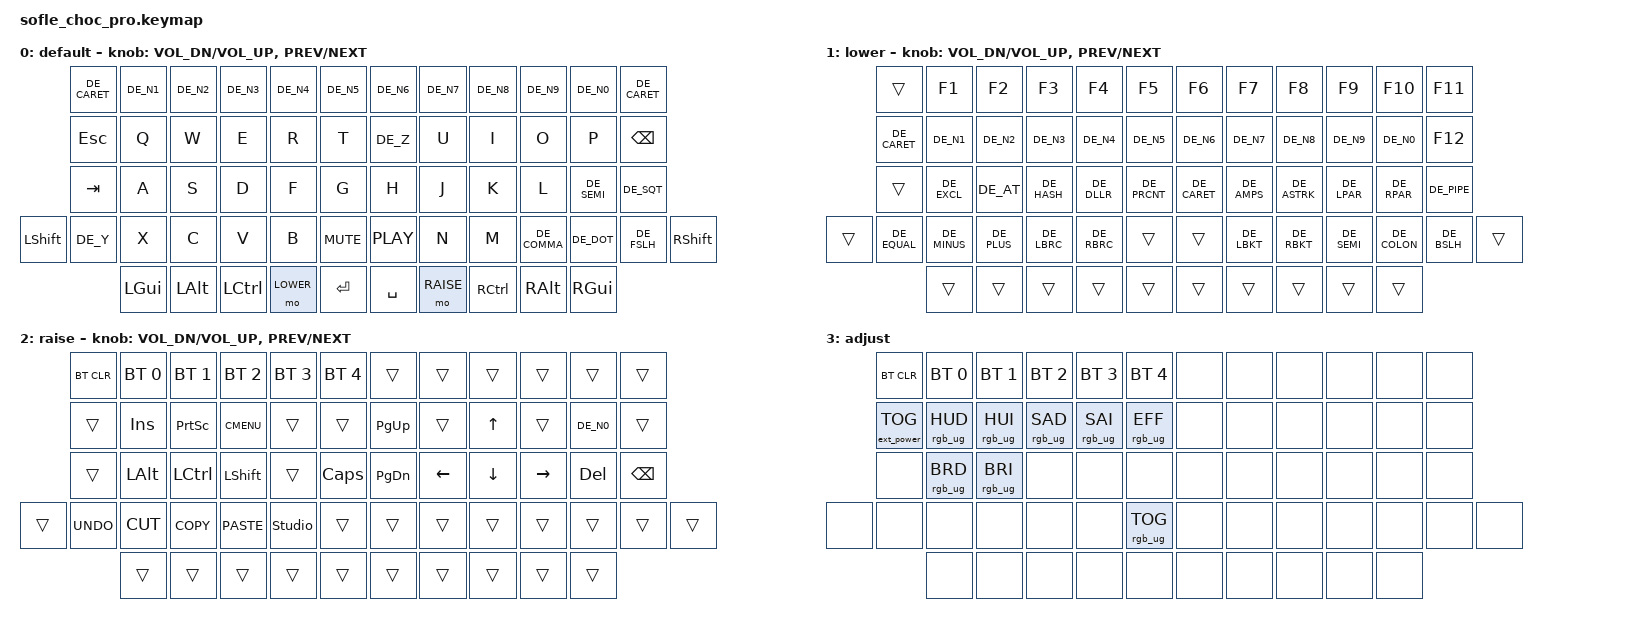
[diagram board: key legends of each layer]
/*
 * Copyright (c) 2020 The ZMK Contributors
 *
 * SPDX-License-Identifier: MIT
 */

#include <behaviors.dtsi>
#include "keys_de.h"
#include <dt-bindings/zmk/bt.h>
#include <dt-bindings/zmk/rgb.h>
#include <dt-bindings/zmk/ext_power.h>

#define BASE 0
#define LOWER 1
#define RAISE 2
#define ADJUST 3

/ {
    // Activate ADJUST layer by pressing raise and lower
    conditional_layers {
        compatible = "zmk,conditional-layers";
        adjust_layer {
            if-layers = <LOWER RAISE>;
            then-layer = <ADJUST>;
        };
    };

    keymap {
        compatible = "zmk,keymap";

        default_layer {
            display-name = "default";
            bindings = <
                &kp DE_CARET &kp DE_N1 &kp DE_N2 &kp DE_N3 &kp DE_N4 &kp DE_N5 &kp DE_N6 &kp DE_N7 &kp DE_N8 &kp DE_N9 &kp DE_N0 &kp DE_CARET
                &kp ESC &kp Q &kp W &kp E &kp R &kp T &kp DE_Z &kp U &kp I &kp O &kp P &kp BSPC
                &kp TAB &kp A &kp S &kp D &kp F &kp G &kp H &kp J &kp K &kp L &kp DE_SEMI &kp DE_SQT
                &kp LSHFT &kp DE_Y &kp X &kp C &kp V &kp B &kp C_MUTE &kp C_PLAY &kp N &kp M &kp DE_COMMA &kp DE_DOT &kp DE_FSLH &kp RSHFT
                &kp LGUI &kp LALT &kp LCTRL &mo LOWER &kp RET &kp SPACE &mo RAISE &kp RCTRL &kp RALT &kp RGUI
            >;
            sensor-bindings = <&inc_dec_kp C_VOL_DN C_VOL_UP &inc_dec_kp C_PREV C_NEXT>;
        };

        lower_layer {
            display-name = "lower";
            bindings = <
                &trans &kp F1 &kp F2 &kp F3 &kp F4 &kp F5 &kp F6 &kp F7 &kp F8 &kp F9 &kp F10 &kp F11
                &kp DE_CARET &kp DE_N1 &kp DE_N2 &kp DE_N3 &kp DE_N4 &kp DE_N5 &kp DE_N6 &kp DE_N7 &kp DE_N8 &kp DE_N9 &kp DE_N0 &kp F12
                &trans &kp DE_EXCL &kp DE_AT &kp DE_HASH &kp DE_DLLR &kp DE_PRCNT &kp DE_CARET &kp DE_AMPS &kp DE_ASTRK &kp DE_LPAR &kp DE_RPAR &kp DE_PIPE
                &trans &kp DE_EQUAL &kp DE_MINUS &kp DE_PLUS &kp DE_LBRC &kp DE_RBRC &trans &trans &kp DE_LBKT &kp DE_RBKT &kp DE_SEMI &kp DE_COLON &kp DE_BSLH &trans
                &trans &trans &trans &trans &trans &trans &trans &trans &trans &trans
            >;
            sensor-bindings = <&inc_dec_kp C_VOL_DN C_VOL_UP &inc_dec_kp C_PREV C_NEXT>;
        };

        raise_layer {
            display-name = "raise";
            bindings = <
                &bt BT_CLR &bt BT_SEL 0 &bt BT_SEL 1 &bt BT_SEL 2 &bt BT_SEL 3 &bt BT_SEL 4 &trans &trans &trans &trans &trans &trans
                &trans &kp INS &kp PSCRN &kp K_CMENU &trans &trans &kp PG_UP &trans &kp UP &trans &kp DE_N0 &trans
                &trans &kp LALT &kp LCTRL &kp LSHFT &trans &kp CLCK &kp PG_DN &kp LEFT &kp DOWN &kp RIGHT &kp DEL &kp BSPC
                &trans &kp K_UNDO &kp K_CUT &kp K_COPY &kp K_PASTE &studio_unlock &trans &trans &trans &trans &trans &trans &trans &trans
                &trans &trans &trans &trans &trans &trans &trans &trans &trans &trans
            >;
            sensor-bindings = <&inc_dec_kp C_VOL_DN C_VOL_UP &inc_dec_kp C_PREV C_NEXT>;
        };

        adjust_layer {
            display-name = "adjust";
            bindings = <
                &bt BT_CLR &bt BT_SEL 0 &bt BT_SEL 1 &bt BT_SEL 2 &bt BT_SEL 3 &bt BT_SEL 4 &none &none &none &none &none &none
                &ext_power EP_TOG &rgb_ug RGB_HUD &rgb_ug RGB_HUI &rgb_ug RGB_SAD &rgb_ug RGB_SAI &rgb_ug RGB_EFF &none &none &none &none &none &none
                &none &rgb_ug RGB_BRD &rgb_ug RGB_BRI &none &none &none &none &none &none &none &none &none
                &none &none &none &none &none &none &rgb_ug RGB_TOG &none &none &none &none &none &none &none
                &none &none &none &none &none &none &none &none &none &none
            >;
        };
    };
};
